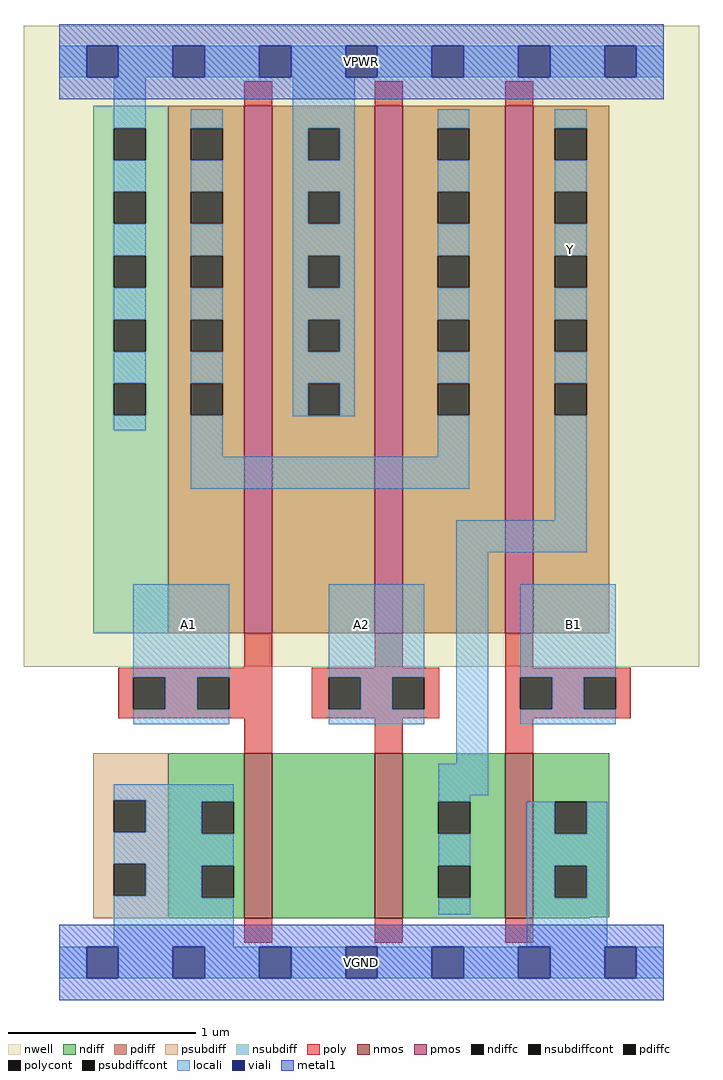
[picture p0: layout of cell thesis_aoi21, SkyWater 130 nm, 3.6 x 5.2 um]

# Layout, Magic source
magic
tech sky130A
magscale 1 2
<< nwell >>
rect -38 315 682 998
<< nmos >>
rect 197 47 227 223
rect 336 47 366 223
rect 475 47 505 223
<< pmos >>
rect 197 351 227 913
rect 336 351 366 913
rect 475 351 505 913
<< ndiff >>
rect 116 171 197 223
rect 116 137 152 171
rect 186 137 197 171
rect 116 103 197 137
rect 116 69 152 103
rect 186 69 197 103
rect 116 47 197 69
rect 227 47 336 223
rect 366 171 475 223
rect 366 137 404 171
rect 438 137 475 171
rect 366 103 475 137
rect 366 69 404 103
rect 438 69 475 103
rect 366 47 475 69
rect 505 171 586 223
rect 505 137 528 171
rect 562 137 586 171
rect 505 103 586 137
rect 505 69 528 103
rect 562 69 586 103
rect 505 48 586 69
rect 505 47 565 48
<< pdiff >>
rect 116 889 197 913
rect 116 855 140 889
rect 174 855 197 889
rect 116 821 197 855
rect 116 787 140 821
rect 174 787 197 821
rect 116 753 197 787
rect 116 719 140 753
rect 174 719 197 753
rect 116 685 197 719
rect 116 651 140 685
rect 174 651 197 685
rect 116 617 197 651
rect 116 583 140 617
rect 174 583 197 617
rect 116 351 197 583
rect 227 889 336 913
rect 227 855 265 889
rect 299 855 336 889
rect 227 821 336 855
rect 227 787 265 821
rect 299 787 336 821
rect 227 753 336 787
rect 227 719 265 753
rect 299 719 336 753
rect 227 685 336 719
rect 227 651 265 685
rect 299 651 336 685
rect 227 617 336 651
rect 227 583 265 617
rect 299 583 336 617
rect 227 351 336 583
rect 366 889 475 913
rect 366 855 403 889
rect 437 855 475 889
rect 366 821 475 855
rect 366 787 403 821
rect 437 787 475 821
rect 366 753 475 787
rect 366 719 403 753
rect 437 719 475 753
rect 366 685 475 719
rect 366 651 403 685
rect 437 651 475 685
rect 366 617 475 651
rect 366 583 403 617
rect 437 583 475 617
rect 366 351 475 583
rect 505 889 586 913
rect 505 855 528 889
rect 562 855 586 889
rect 505 821 586 855
rect 505 787 528 821
rect 562 787 586 821
rect 505 753 586 787
rect 505 719 528 753
rect 562 719 586 753
rect 505 685 586 719
rect 505 651 528 685
rect 562 651 586 685
rect 505 617 586 651
rect 505 583 528 617
rect 562 583 586 617
rect 505 351 586 583
<< ndiffc >>
rect 152 137 186 171
rect 152 69 186 103
rect 404 137 438 171
rect 404 69 438 103
rect 528 137 562 171
rect 528 69 562 103
<< pdiffc >>
rect 140 855 174 889
rect 140 787 174 821
rect 140 719 174 753
rect 140 651 174 685
rect 140 583 174 617
rect 265 855 299 889
rect 265 787 299 821
rect 265 719 299 753
rect 265 651 299 685
rect 265 583 299 617
rect 403 855 437 889
rect 403 787 437 821
rect 403 719 437 753
rect 403 651 437 685
rect 403 583 437 617
rect 528 855 562 889
rect 528 787 562 821
rect 528 719 562 753
rect 528 651 562 685
rect 528 583 562 617
<< psubdiff >>
rect 36 173 116 223
rect 36 139 58 173
rect 92 139 116 173
rect 36 105 116 139
rect 36 71 58 105
rect 92 71 116 105
rect 36 47 116 71
<< nsubdiff >>
rect 36 889 116 913
rect 36 855 58 889
rect 92 855 116 889
rect 36 821 116 855
rect 36 787 58 821
rect 92 787 116 821
rect 36 753 116 787
rect 36 719 58 753
rect 92 719 116 753
rect 36 685 116 719
rect 36 651 58 685
rect 92 651 116 685
rect 36 617 116 651
rect 36 583 58 617
rect 92 583 116 617
rect 36 351 116 583
<< psubdiffcont >>
rect 58 139 92 173
rect 58 71 92 105
<< nsubdiffcont >>
rect 58 855 92 889
rect 58 787 92 821
rect 58 719 92 753
rect 58 651 92 685
rect 58 583 92 617
<< poly >>
rect 197 913 227 939
rect 336 913 366 939
rect 475 913 505 939
rect 197 314 227 351
rect 336 314 366 351
rect 475 314 505 351
rect 63 304 227 314
rect 63 270 79 304
rect 113 270 147 304
rect 181 270 227 304
rect 63 260 227 270
rect 269 304 405 314
rect 269 270 287 304
rect 321 270 355 304
rect 389 270 405 304
rect 269 260 405 270
rect 475 304 609 314
rect 475 270 491 304
rect 525 270 559 304
rect 593 270 609 304
rect 475 260 609 270
rect 197 223 227 260
rect 336 223 366 260
rect 475 223 505 260
rect 197 21 227 47
rect 336 21 366 47
rect 475 21 505 47
<< polycont >>
rect 79 270 113 304
rect 147 270 181 304
rect 287 270 321 304
rect 355 270 389 304
rect 491 270 525 304
rect 559 270 593 304
<< locali >>
rect 0 943 29 977
rect 63 943 121 977
rect 155 943 213 977
rect 247 943 305 977
rect 339 943 397 977
rect 431 943 489 977
rect 523 943 581 977
rect 615 943 644 977
rect 58 889 92 943
rect 58 821 92 855
rect 58 753 92 787
rect 58 685 92 719
rect 58 617 92 651
rect 58 567 92 583
rect 140 889 174 909
rect 140 821 174 855
rect 140 753 174 787
rect 140 685 174 719
rect 140 617 174 651
rect 140 539 174 583
rect 249 889 315 943
rect 249 855 265 889
rect 299 855 315 889
rect 249 821 315 855
rect 249 787 265 821
rect 299 787 315 821
rect 249 753 315 787
rect 249 719 265 753
rect 299 719 315 753
rect 249 685 315 719
rect 249 651 265 685
rect 299 651 315 685
rect 249 617 315 651
rect 249 583 265 617
rect 299 583 315 617
rect 249 582 315 583
rect 403 889 437 909
rect 403 821 437 855
rect 403 753 437 787
rect 403 685 437 719
rect 403 617 437 651
rect 403 539 437 583
rect 140 505 437 539
rect 528 889 562 909
rect 528 821 562 855
rect 528 753 562 787
rect 528 685 562 719
rect 528 617 562 651
rect 528 471 562 583
rect 423 437 562 471
rect 79 304 181 403
rect 113 270 147 304
rect 79 254 181 270
rect 287 304 389 403
rect 321 270 355 304
rect 287 254 389 270
rect 423 212 457 437
rect 491 304 593 403
rect 525 270 559 304
rect 491 254 593 270
rect 58 173 186 190
rect 92 171 186 173
rect 92 139 152 171
rect 58 137 152 139
rect 58 105 186 137
rect 92 103 186 105
rect 92 71 152 103
rect 58 69 152 71
rect 58 17 186 69
rect 404 178 457 212
rect 404 171 438 178
rect 404 103 438 137
rect 404 51 438 69
rect 498 137 528 171
rect 562 137 584 171
rect 498 103 584 137
rect 498 69 528 103
rect 562 69 584 103
rect 498 17 584 69
rect 0 -17 29 17
rect 63 -17 121 17
rect 155 -17 213 17
rect 247 -17 305 17
rect 339 -17 397 17
rect 431 -17 489 17
rect 523 -17 581 17
rect 615 -17 644 17
<< viali >>
rect 29 943 63 977
rect 121 943 155 977
rect 213 943 247 977
rect 305 943 339 977
rect 397 943 431 977
rect 489 943 523 977
rect 581 943 615 977
rect 29 -17 63 17
rect 121 -17 155 17
rect 213 -17 247 17
rect 305 -17 339 17
rect 397 -17 431 17
rect 489 -17 523 17
rect 581 -17 615 17
<< metal1 >>
rect 0 977 644 1000
rect 0 943 29 977
rect 63 943 121 977
rect 155 943 213 977
rect 247 943 305 977
rect 339 943 397 977
rect 431 943 489 977
rect 523 943 581 977
rect 615 943 644 977
rect 0 920 644 943
rect 0 17 644 40
rect 0 -17 29 17
rect 63 -17 121 17
rect 155 -17 213 17
rect 247 -17 305 17
rect 339 -17 397 17
rect 431 -17 489 17
rect 523 -17 581 17
rect 615 -17 644 17
rect 0 -40 644 -17
<< labels >>
flabel locali s 121 343 155 377 0 FreeSans 240 0 0 0 A1
port 0 nsew signal input
flabel locali s 305 343 339 377 0 FreeSans 240 0 0 0 A2
port 1 nsew signal input
flabel locali s 531 343 565 377 0 FreeSans 240 0 0 0 B1
port 2 nsew signal input
flabel metal1 s 305 -17 339 17 0 FreeSans 240 0 0 0 VGND
port 5 nsew ground bidirectional
flabel metal1 s 305 943 339 977 0 FreeSans 240 0 0 0 VPWR
port 4 nsew power bidirectional
flabel locali s 528 743 562 777 0 FreeSans 240 0 0 0 Y
port 3 nsew signal output
<< properties >>
string FIXED_BBOX 0 0 644 960
string LEFclass CORE
string LEForigin 0 0
<< end >>
